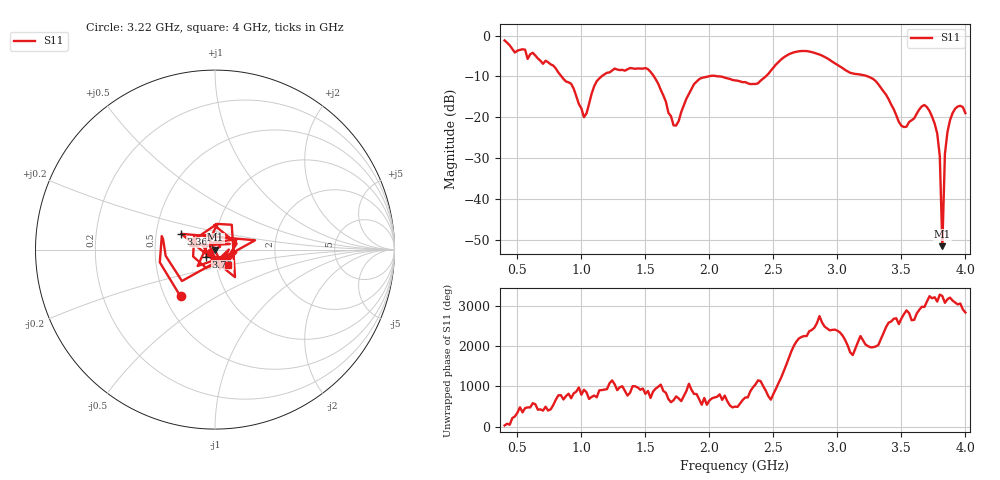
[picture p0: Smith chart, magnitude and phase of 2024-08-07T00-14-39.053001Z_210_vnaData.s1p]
!Created with skrf (http://scikit-rf.org).
# Hz S RI R 50.0
!freq ReS11 ImS11
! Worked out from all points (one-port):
!   181 points, 400 MHz to 4 GHz, reference 50 ohm
!   lowest |S11| = -51.5 dB at 3.82 GHz (marker M1), VSWR 1.01, Z = 50.3 - j0.0238 ohm
!   |S11| at or under -10 dB: 1.567 GHz to 1.99 GHz (423 MHz wide, 23.8 % of centre); 2.085 GHz to 2.44 GHz (355 MHz wide, 15.7 % of centre); 3.239 GHz to end of sweep (the widest 3 of 4)
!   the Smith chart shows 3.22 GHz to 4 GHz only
!   S11 on the Smith chart (normalised r, x): 3.22 GHz: 0.60, -0.35; 3.36 GHz: 0.67, +0.12; 3.78 GHz: 0.90, -0.07; 4 GHz: 1.13, -0.20
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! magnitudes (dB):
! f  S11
! 400 MHz  -1.2
! 860 MHz  -10.6
! 920 MHz  -11.8
! 1.02 GHz  -20.0
! 1.12 GHz  -11.1
! 1.3 GHz  -8.4
! 1.52 GHz  -8.2
! 1.6 GHz  -11.8
! 1.72 GHz  -21.9
! 1.76 GHz  -20.9
! 1.92 GHz  -10.7
! 2.2 GHz  -11.0
! 2.38 GHz  -11.7
! 2.66 GHz  -4.1
! 2.86 GHz  -4.6
! 3.1 GHz  -9.1
! 3.22 GHz  -9.8
! 3.36 GHz  -13.6
! 3.5 GHz  -22.0
! 3.56 GHz  -21.1
! 3.68 GHz  -17.0
! 3.78 GHz  -24.0
! 3.8 GHz  -29.5
! 3.82 GHz  -51.5
! 3.84 GHz  -28.9
! 3.86 GHz  -23.5
! 3.92 GHz  -17.9
! 4 GHz  -19.0
